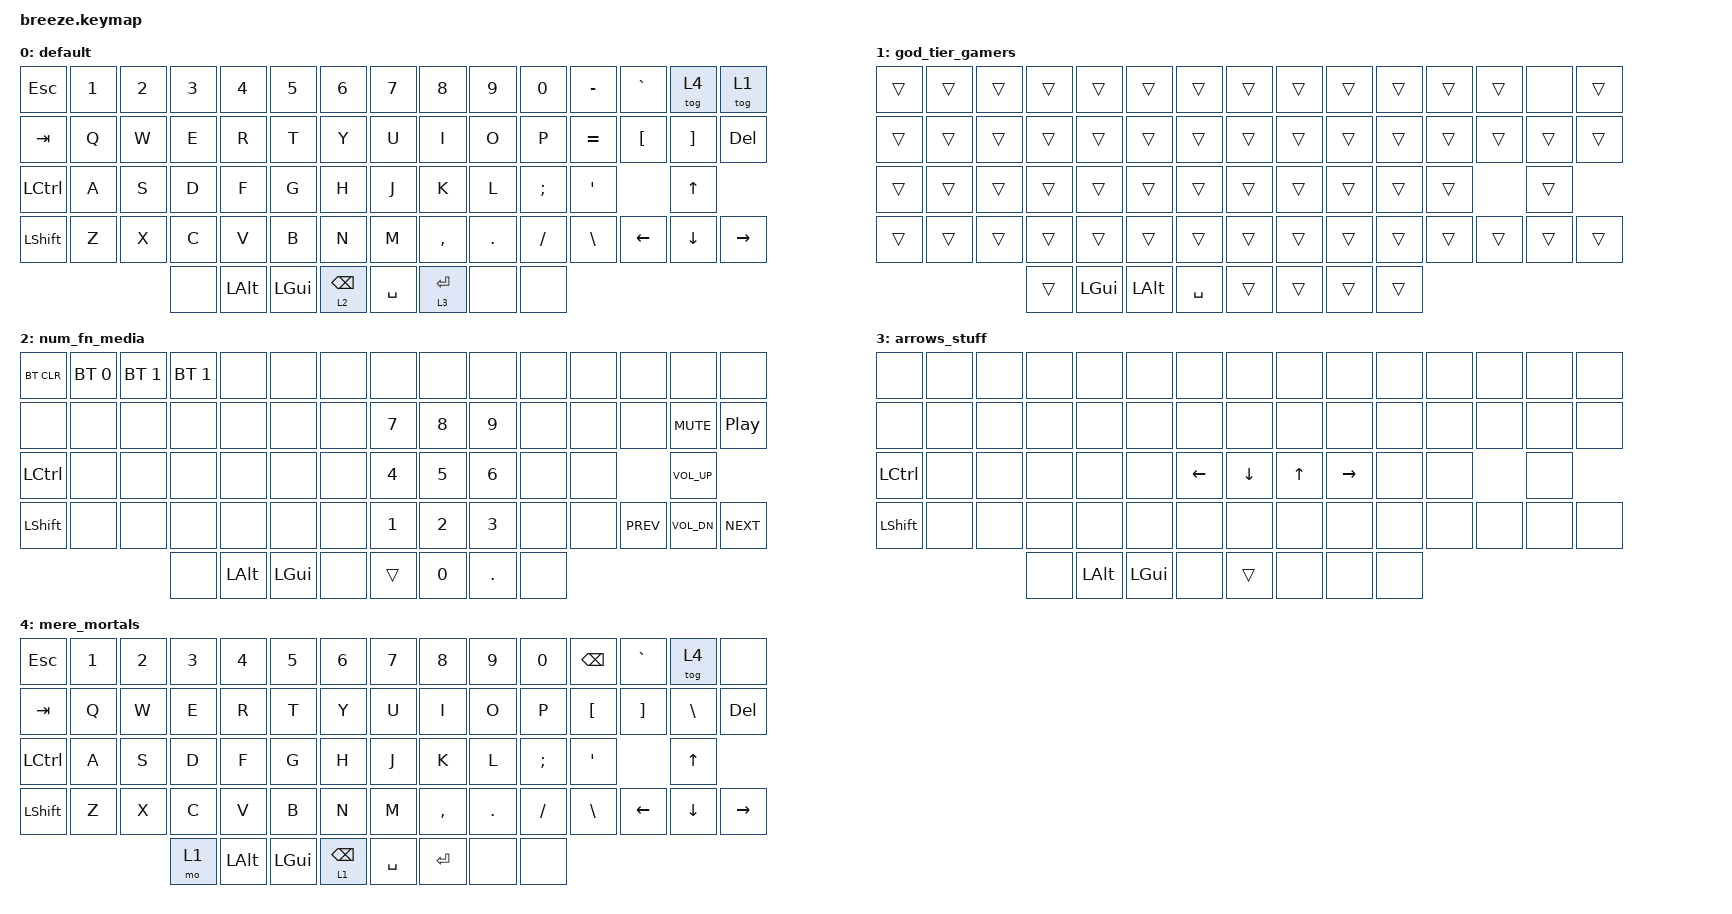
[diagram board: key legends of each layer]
/*
 * Copyright (c) 2020 The ZMK Contributors
 *
 * SPDX-License-Identifier: MIT
 */

#include <behaviors.dtsi>
#include <dt-bindings/zmk/keys.h>
#include <dt-bindings/zmk/bt.h>
#include <dt-bindings/zmk/ext_power.h>


/ {
	keymap {
		compatible = "zmk,keymap";

		default {

// Ref: https://zmkfirmware.dev/docs/codes/

// .----------------------------------------.                                      .-------------------------------------------------------------------------.
// |  ESC  |  1  |  2  |  3   |  4   |  5   |                                      |  6       |  7    |  8    |  9   |   0   |   -   | |  `  | TG MM | TG EG |
// |  TAB  |  Q  |  W  |  E   |  R   |  T   |                                      |  Y       |  U    |  I    |  O   |   P   |   =   | |  [  |   ]   |  DEL  |
// |  CTRL |  A  |  S  |  D   |  F   |  G   |                                      |  H       |  J    |  K    |  L   |   ;   |   '   | |     |  UP   |       |
// | SHIFT |  Z  |  X  |  C   |  V   |  B   |___________                    _______|  N       |  M    |  ,    |  .   |   /   |   \   | |  L  |  DN   |   R   |
// '-------------------|      | ALT  | GUI  | LT 2 BSPC |                  | SPACE | LT 3 RET |       |       |----------------------------------------------'
//                     '--------------------------------'                  '----------------------------------'
			bindings = <
&kp ESC   &kp N1 &kp N2 &kp N3    &kp N4   &kp N5                             &kp N6    &kp N7   &kp N8    &kp N9  &kp N0   &kp MINUS  &kp GRAVE &tog 4    &tog 1
&kp TAB   &kp Q  &kp W  &kp E     &kp R    &kp T                              &kp Y     &kp U    &kp I     &kp O   &kp P    &kp EQUAL  &kp LBKT  &kp RBKT  &kp DEL
&kp LCTRL &kp A  &kp S  &kp D     &kp F    &kp G                              &kp H     &kp J    &kp K     &kp L   &kp SEMI &kp APOS             &kp UP 
&kp LSHFT &kp Z  &kp X  &kp C     &kp V    &kp B                              &kp N     &kp M    &kp COMMA &kp DOT &kp FSLH &kp BSLH   &kp LEFT  &kp DOWN  &kp RIGHT
                        &none     &kp LALT &kp LGUI &lt 2 BSPC      &kp SPACE &lt 3 RET &none    &none
			>;
		};

		god_tier_gamers {
// .----------------------------------------.                                      .-------------------------------------------------------------------.
// |       |     |     |      |      |      |                                      |      |       |       |      |       |       | |     |      |      | 
// |       |     |     |      |      |      |                                      |      |       |       |      |       |       | |     |      |      | 
// |       |     |     |      |      |      |                                      |      |       |       |      |       |       | |     |      |      | 
// |       |     |     |      |      |      |________                       _______|      |       |       |      |       |       | |     |      |      | 
//  -------------------|      | GUI  | ALT  |  SPACE |                     |       |      |       |       |--------------------------------------------'
//                     '-----------------------------'                     '------------------------------'
			bindings = <
&trans   &trans   &trans   &trans   &trans   &trans                                    &trans      &trans    &trans    &trans   &trans   &trans    &trans    &none     &trans 
&trans   &trans   &trans   &trans   &trans   &trans                                    &trans      &trans    &trans    &trans   &trans   &trans    &trans    &trans    &trans 
&trans   &trans   &trans   &trans   &trans   &trans                                    &trans      &trans    &trans    &trans   &trans   &trans              &trans
&trans   &trans   &trans   &trans   &trans   &trans                                    &trans      &trans    &trans    &trans   &trans   &trans    &trans    &trans    &trans 
                           &trans   &kp LGUI &kp LALT &kp SPACE              &trans    &trans      &trans    &trans
			>;
		};

		num_fn_media {
// .----------------------------------------.                                      .------------------------------------------------------------------.
// | BTCLR | BT1 | BT2 | BT3  |      |      |                                      |      |      |      |      |       |       | |      |      |      | 
// |       |     |     |      |      |      |                                      |      |   7  |   8  |   9  |       |       | |      | Mute | Play | 
// |  CTRL |     |     |      |      |      |                                      |      |   4  |   5  |   6  |       |       | |      | Vol+ |      | 
// | SHIFT |     |     |      |      |      |________                       _______|      |   1  |   2  |   3  |       |       | | Prev | Vol- | Next | 
// '-------------------|      | ALT  | GUI  |        |                     |       |   0  |   .  |      |---------------------------------------------'
//                     '-----------------------------'                     '----------------------------'
			bindings = <
&bt BT_CLR &bt BT_SEL 0 &bt BT_SEL 1 &bt BT_SEL 1  &none     &none                                 &none     &none     &none     &none     &none     &none     &none      &none         &none 
&none      &none        &none        &none         &none     &none                                 &none     &kp N7    &kp N8    &kp N9    &none     &none     &none      &kp C_MUTE    &kp C_PLAY_PAUSE
&kp LCTRL  &none        &none        &none         &none     &none                                 &none     &kp N4    &kp N5    &kp N6    &none     &none                &kp C_VOL_UP
&kp LSHFT  &none        &none        &none         &none     &none                                 &none     &kp N1    &kp N2    &kp N3    &none     &none     &kp C_PREV &kp C_VOL_DN  &kp C_NEXT
                                     &none         &kp LALT  &kp LGUI  &none               &trans  &kp N0    &kp DOT   &none
			>;
		};

		arrows_stuff {
// .----------------------------------------.                                      .---------------------------------------------------------------------.
// |       |     |     |      |      |      |                                      |      |      |      |       |       |       | |      |       |       | 
// |       |     |     |      |      |      |                                      |      |      |      |       |       |       | |      |       |       | 
// |  CTRL |     |     |      |      |      |                                      | LEFT | DOWN |  UP  | RIGHT |       |       | |      |       |       | 
// | SHIFT |     |     |      |      |      |________                       _______|      |      |      |       |       |       | |      |       |       | 
// '-------------------|      | ALT  | GUI  |        |                     |       |      |      |      |------------------------------------------------'
//                     '-----------------------------'                     '----------------------------'
			bindings = <
&none      &none  &none  &none  &none     &none                   &none     &none     &none     &none     &none     &none     &none    &none    &none    
&none      &none  &none  &none  &none     &none                   &none     &none     &none     &none     &none     &none     &none    &none    &none  
&kp LCTRL  &none  &none  &none  &none     &none                   &kp LEFT  &kp DOWN  &kp UP    &kp RIGHT &none     &none              &none   
&kp LSHFT  &none  &none  &none  &none     &none                   &none     &none     &none     &none     &none     &none     &none    &none    &none 
                         &none  &kp LALT  &kp LGUI  &none           &trans  &none     &none     &none 
			>;
		};

		mere_mortals {
// .----------------------------------------.                                      .-----------------------------------------------------------------------.
// |  ESC  |  1  |  2  |  3   |  4   |  5   |                                      |  6     |  7    |  8    |  9   |   0   | BSPC  | |  `  | TG MM | TG EG |
// |  TAB  |  Q  |  W  |  E   |  R   |  T   |                                      |  Y     |  U    |  I    |  O   |   P   |   [   | |  ]  |   \   |  DEL  |
// |  CTRL |  A  |  S  |  D   |  F   |  G   |                                      |  H     |  J    |  K    |  L   |   ;   |   '   | |     |  UP   |       |
// | SHIFT |  Z  |  X  |  C   |  V   |  B   |___________                    _______|  N     |  M    |  ,    |  .   |   /   | RSHFT | |  L  |  DN   |   R   |
// '-------------------| Mo 1 | ALT  | GUI  | LT 1 BSPC |                  | SPACE | RETURN |       |       |----------------------------------------------'
//                     '--------------------------------'                  '--------------------------------'
			bindings = <
&kp ESC   &kp N1 &kp N2 &kp N3    &kp N4   &kp N5                             &kp N6    &kp N7   &kp N8    &kp N9  &kp N0   &kp BSPC   &kp GRAVE &tog 4    &none
&kp TAB   &kp Q  &kp W  &kp E     &kp R    &kp T                              &kp Y     &kp U    &kp I     &kp O   &kp P    &kp LBKT   &kp RBKT  &kp BSLH  &kp DEL
&kp LCTRL &kp A  &kp S  &kp D     &kp F    &kp G                              &kp H     &kp J    &kp K     &kp L   &kp SEMI &kp APOS             &kp UP 
&kp LSHFT &kp Z  &kp X  &kp C     &kp V    &kp B                              &kp N     &kp M    &kp COMMA &kp DOT &kp FSLH &kp BSLH   &kp LEFT  &kp DOWN  &kp RIGHT
                        &mo 1     &kp LALT &kp LGUI &lt 1 BSPC      &kp SPACE &kp RET   &none    &none
			>;
		};
	};
};
